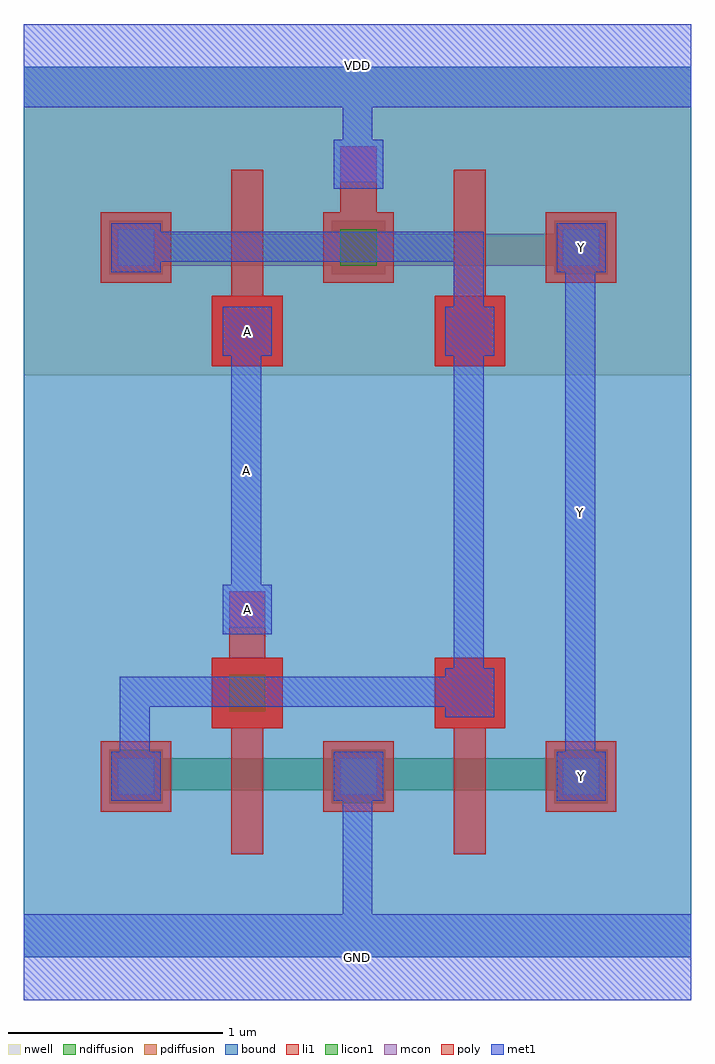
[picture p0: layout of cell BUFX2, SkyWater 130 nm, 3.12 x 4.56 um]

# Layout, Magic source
magic
# Generated by librecell
tech sky130A
<< nwell >>
rect 0 272 312 416
<< mcon >>
rect 44 76 61 93
rect 148 76 165 93
rect 252 76 269 93
rect 200 115 217 132
rect 96 154 113 171
rect 96 284 113 301
rect 200 284 217 301
rect 44 323 61 340
rect 252 323 269 340
rect 148 362 165 379
<< poly >>
rect 97 48 112 107
rect 88 107 121 140
rect 201 48 216 107
rect 192 107 225 140
rect 88 276 121 309
rect 97 309 112 368
rect 192 276 225 309
rect 201 309 216 368
<< bound >>
rect 0 0 312 416
<< li1 >>
rect 36 68 69 101
rect 140 68 173 101
rect 244 68 277 101
rect 192 107 225 140
rect 88 107 121 140
rect 96 140 113 171
rect 88 276 121 309
rect 192 276 225 309
rect 36 315 69 348
rect 244 315 277 348
rect 140 315 173 348
rect 148 348 165 379
<< met1 >>
rect 0 -20 312 20
rect 149 20 163 73
rect 145 73 168 96
rect 93 151 116 174
rect 97 174 111 281
rect 93 281 116 304
rect 41 73 64 96
rect 45 96 59 117
rect 197 112 220 117
rect 45 117 220 131
rect 197 131 220 135
rect 201 135 215 281
rect 197 281 220 304
rect 41 320 64 325
rect 201 304 215 325
rect 41 325 215 339
rect 41 339 64 343
rect 249 73 272 96
rect 253 96 267 320
rect 249 320 272 343
rect 145 359 168 382
rect 149 382 163 397
rect 0 397 312 436
<< li1 >>
<< met1 >>
<< li1 >>
<< met1 >>
rect 0 -20 312 20
rect 93 151 116 174
rect 97 174 111 281
rect 93 281 116 304
rect 249 73 272 96
rect 253 96 267 320
rect 249 320 272 343
rect 0 397 312 436
<< ndiffusion >>
rect 40 72 65 78
rect 144 72 169 78
rect 248 72 273 78
rect 40 78 273 93
rect 40 93 65 97
rect 144 93 169 97
rect 248 93 273 97
<< pdiffusion >>
rect 40 319 65 323
rect 144 319 169 323
rect 248 319 273 323
rect 40 323 273 338
rect 40 338 65 344
rect 144 338 169 344
rect 248 338 273 344
<< licon1 >>
rect 96 115 113 132
rect 200 115 217 132
rect 96 284 113 301
rect 200 284 217 301
<< licon1 >>
rect 44 76 61 93
rect 148 76 165 93
rect 252 76 269 93
rect 44 323 61 340
rect 148 323 165 340
rect 252 323 269 340
<< labels >>
rlabel metal2 0 397 312 436 0 VDD
port 1 se
rlabel metal2 0 -20 312 20 0 GND
port 2 se
rlabel metal2 249 73 272 96 0 Y
port 3 se
rlabel metal2 253 96 267 320 0 Y
port 4 se
rlabel metal2 249 320 272 343 0 Y
port 5 se
rlabel metal2 93 151 116 174 0 A
port 6 se
rlabel metal2 97 174 111 281 0 A
port 7 se
rlabel metal2 93 281 116 304 0 A
port 8 se
<< end >>
